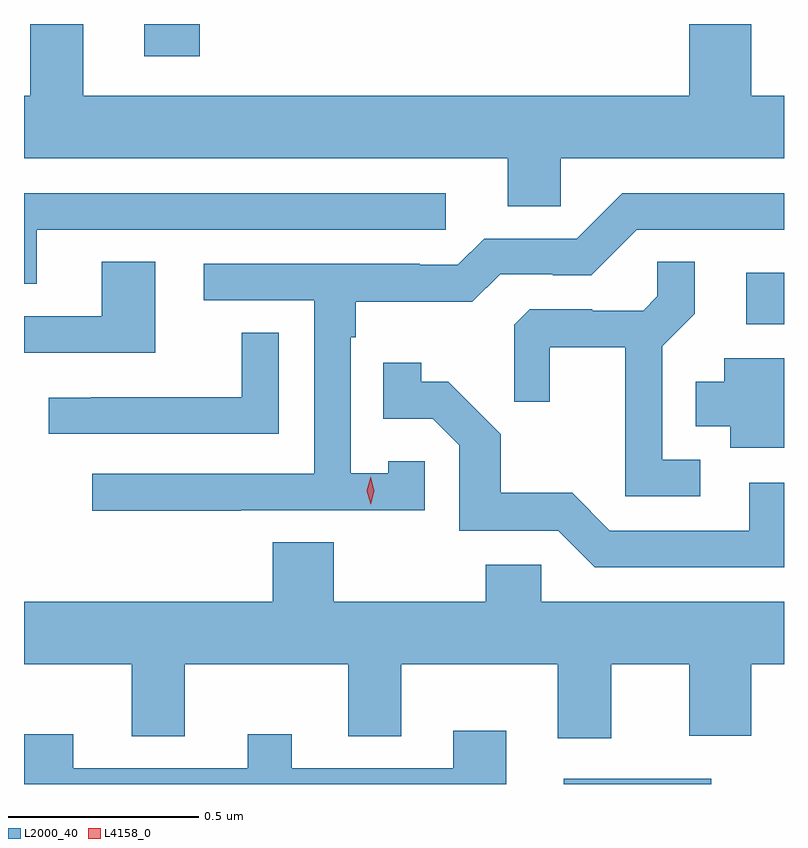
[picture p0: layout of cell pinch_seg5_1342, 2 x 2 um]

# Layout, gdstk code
import gdstk
lib = gdstk.Library(unit=1e-6, precision=1e-09)
def R(c, l, rs):  # rectangles x0, y0, x1, y1
    for r in rs: c.add(gdstk.rectangle(r[:2], r[2:], *l))
def P(c, l, *ps):  # polygons
    for p in ps: c.add(gdstk.Polygon(p, *l))
L2000_40 = (2000, 40)
L4158_0 = (4158, 0)

pinch_seg5_1342 = lib.new_cell('pinch_seg5_1342')
R(pinch_seg5_1342, L2000_40, [(428.414,859.109,428.803,859.123), (428.895,860.319,428.994,860.455), (427.31,861.024,427.457,861.109)])
P(pinch_seg5_1342, L2000_40, [(428.406,860.756),(428.994,860.756),(428.994,860.92),(428.908,860.92),(428.908,861.109),(428.744,861.109),(428.744,860.92),(427.15,860.92),(427.15,861.109),(427.01,861.109),(427.01,860.92),(426.994,860.92),(426.994,860.756),(428.267,860.756),(428.267,860.629),(428.406,860.629)],
  [(427.565,859.83),(428.049,859.83),(428.049,859.959),(427.953,859.959),(427.953,859.927),(427.854,859.927),(427.854,860.285),(427.867,860.285),(427.867,860.378),(428.174,860.378),(428.247,860.451),(428.386,860.451),(428.386,860.448),(428.487,860.448),(428.607,860.568),(428.994,860.568),(428.994,860.664),(428.568,860.664),(428.448,860.544),(428.205,860.544),(428.136,860.475),(428.036,860.475),(428.036,860.478),(427.467,860.478),(427.467,860.382),(427.758,860.382),(427.758,859.926),(427.173,859.926),(427.173,859.828),(427.565,859.828)],
  [(427.027,860.568),(428.104,860.568),(428.104,860.664),(426.994,860.664),(426.994,860.425),(427.027,860.425)],
  [(428.773,859.962),(428.673,859.962),(428.673,860.261),(428.759,860.347),(428.759,860.483),(428.661,860.483),(428.661,860.392),(428.624,860.355),(428.49,860.355),(428.49,860.358),(428.325,860.358),(428.284,860.317),(428.284,860.115),(428.378,860.115),(428.378,860.258),(428.576,860.258),(428.576,859.866),(428.773,859.866)],
  [(427.339,860.483),(427.199,860.483),(427.199,860.34),(426.994,860.34),(426.994,860.244),(427.339,860.244)],
  [(427.665,860.297),(427.567,860.297),(427.567,860.127),(427.171,860.127),(427.171,860.126),(427.059,860.126),(427.059,860.031),(427.665,860.031)],
  [(428.994,860.23),(428.837,860.23),(428.837,860.167),(428.762,860.167),(428.762,860.051),(428.852,860.051),(428.852,859.994),(428.994,859.994)],
  [(428.994,859.902),(428.903,859.902),(428.903,859.776),(428.535,859.776),(428.437,859.875),(428.248,859.875),(428.248,860.03),(428.11,860.168),(428.04,860.168),(428.04,860.218),(427.939,860.218),(427.939,860.07),(428.07,860.07),(428.139,860.001),(428.139,859.776),(428.4,859.776),(428.496,859.68),(428.994,859.68)],
  [(428.355,859.686),(428.209,859.686),(428.209,859.588),(427.809,859.588),(427.809,859.745),(427.649,859.745),(427.649,859.588),(426.994,859.588),(426.994,859.424),(427.277,859.424),(427.277,859.235),(427.417,859.235),(427.417,859.424),(427.847,859.424),(427.847,859.235),(427.987,859.235),(427.987,859.424),(428.399,859.424),(428.399,859.23),(428.539,859.23),(428.539,859.424),(428.744,859.424),(428.744,859.236),(428.908,859.236),(428.908,859.424),(428.994,859.424),(428.994,859.588),(428.355,859.588)],
  [(428.263,859.249),(428.123,859.249),(428.123,859.15),(427.699,859.15),(427.699,859.24),(427.583,859.24),(427.583,859.15),(427.123,859.15),(427.123,859.24),(426.994,859.24),(426.994,859.109),(428.263,859.109)])
P(pinch_seg5_1342, L4158_0, [(427.906,859.845),(427.906,859.845),(427.896,859.881),(427.906,859.917),(427.906,859.917),(427.906,859.917),(427.916,859.881),(427.906,859.845)])

lib.write_gds('pinch_seg5_1342.gds')
